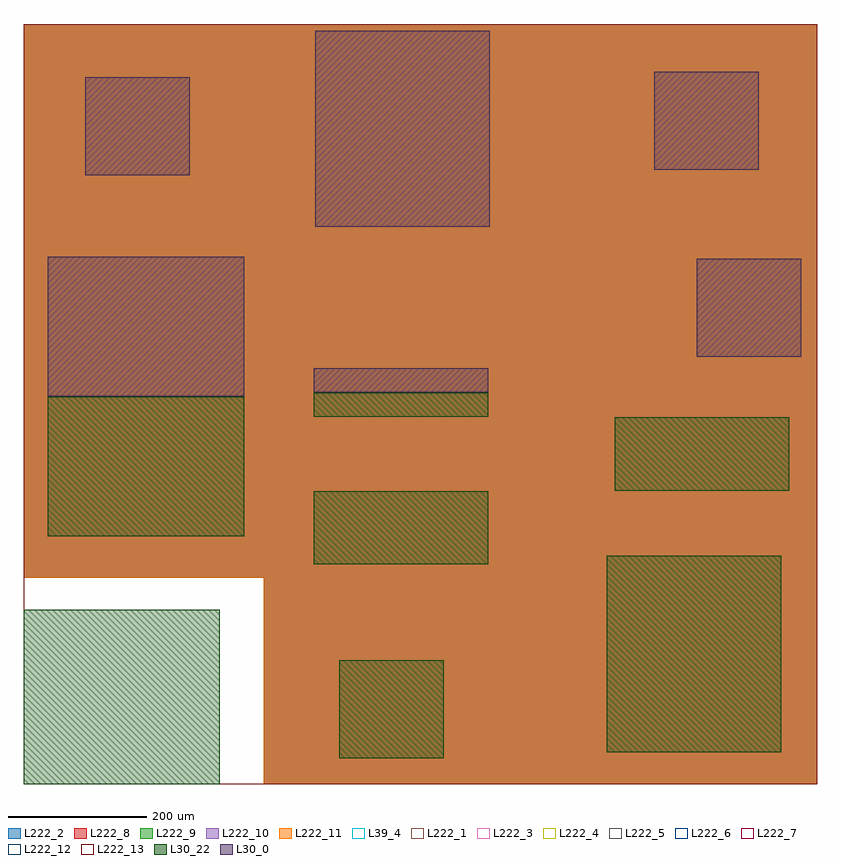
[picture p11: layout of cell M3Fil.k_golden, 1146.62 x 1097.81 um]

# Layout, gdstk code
import gdstk
lib = gdstk.Library(unit=1e-6, precision=1e-09)
def R(c, l, rs):  # rectangles x0, y0, x1, y1
    for r in rs: c.add(gdstk.rectangle(r[:2], r[2:], *l))
def A(c, l, x, y, w, h, nx, ny, dx, dy):  # array of equal rectangles
    R(c, l, [(x+i*dx, y+j*dy, x+i*dx+w, y+j*dy+h) for i in range(nx) for j in range(ny)])
L30_0 = (30, 0)
L30_22 = (30, 22)
L39_4 = (39, 4)
L222_1 = (222, 1)
L222_2 = (222, 2)
L222_3 = (222, 3)
L222_4 = (222, 4)
L222_5 = (222, 5)
L222_6 = (222, 6)
L222_7 = (222, 7)
L222_8 = (222, 8)
L222_9 = (222, 9)
L222_10 = (222, 10)
L222_11 = (222, 11)
L222_12 = (222, 12)
L222_13 = (222, 13)

m3fil_k_golden = lib.new_cell('M3Fil.k_golden')
A(m3fil_k_golden, L30_0, 35.235, 559.9, 35, 50, 8, 4, 35.5, 50.5)
A(m3fil_k_golden, L30_0, 419.065, 565.64, 50, 35, 5, 1, 50.5, 0)
A(m3fil_k_golden, L30_0, 972.075, 616.935, 50, 35, 3, 4, 50.5, 35.5)
A(m3fil_k_golden, L30_0, 421.515, 804.71, 50, 35, 5, 8, 50.5, 35.5)
A(m3fil_k_golden, L30_0, 88.995, 879.115, 50, 35, 3, 4, 50.5, 35.5)
A(m3fil_k_golden, L30_0, 910.625, 887.55, 50, 35, 3, 4, 50.5, 35.5)
A(m3fil_k_golden, L30_22, 0, 0, 35, 50, 8, 5, 35.5, 50.5)
A(m3fil_k_golden, L30_22, 456.17, 37.335, 50, 35, 3, 4, 50.5, 35.5)
A(m3fil_k_golden, L30_22, 842.445, 46.18, 50, 35, 5, 8, 50.5, 35.5)
A(m3fil_k_golden, L30_22, 419.065, 317.14, 50, 35, 5, 3, 50.5, 35.5)
A(m3fil_k_golden, L30_22, 35.235, 357.9, 35, 50, 8, 4, 35.5, 50.5)
A(m3fil_k_golden, L30_22, 853.765, 423.64, 50, 35, 5, 3, 50.5, 35.5)
A(m3fil_k_golden, L30_22, 419.065, 530.14, 50, 35, 5, 1, 50.5, 0)
R(m3fil_k_golden, L39_4, [(0,0,1146.62,1097.81)])
R(m3fil_k_golden, L222_1, [(0,0,1146.62,1097.81)])
R(m3fil_k_golden, L222_2, [(346.62,0,1146.62,800), (0,297.81,800,1097.81), (346.62,297.81,1146.62,1097.81)])
R(m3fil_k_golden, L222_3, [(0,0,1146.62,1097.81)])
R(m3fil_k_golden, L222_4, [(0,0,1146.62,1097.81)])
R(m3fil_k_golden, L222_5, [(0,0,1146.62,1097.81)])
R(m3fil_k_golden, L222_6, [(0,0,1146.62,1097.81)])
R(m3fil_k_golden, L222_7, [(0,0,1146.62,1097.81)])
R(m3fil_k_golden, L222_8, [(346.62,0,1146.62,800), (0,297.81,800,1097.81), (346.62,297.81,1146.62,1097.81)])
R(m3fil_k_golden, L222_9, [(346.62,0,1146.62,800), (0,297.81,800,1097.81), (346.62,297.81,1146.62,1097.81)])
R(m3fil_k_golden, L222_10, [(346.62,0,1146.62,800), (0,297.81,800,1097.81), (346.62,297.81,1146.62,1097.81)])
R(m3fil_k_golden, L222_11, [(346.62,0,1146.62,800), (0,297.81,800,1097.81), (346.62,297.81,1146.62,1097.81)])
R(m3fil_k_golden, L222_12, [(0,0,1146.62,1097.81)])
R(m3fil_k_golden, L222_13, [(0,0,1146.62,1097.81)])

lib.write_gds('M3Fil.k_golden.gds')
